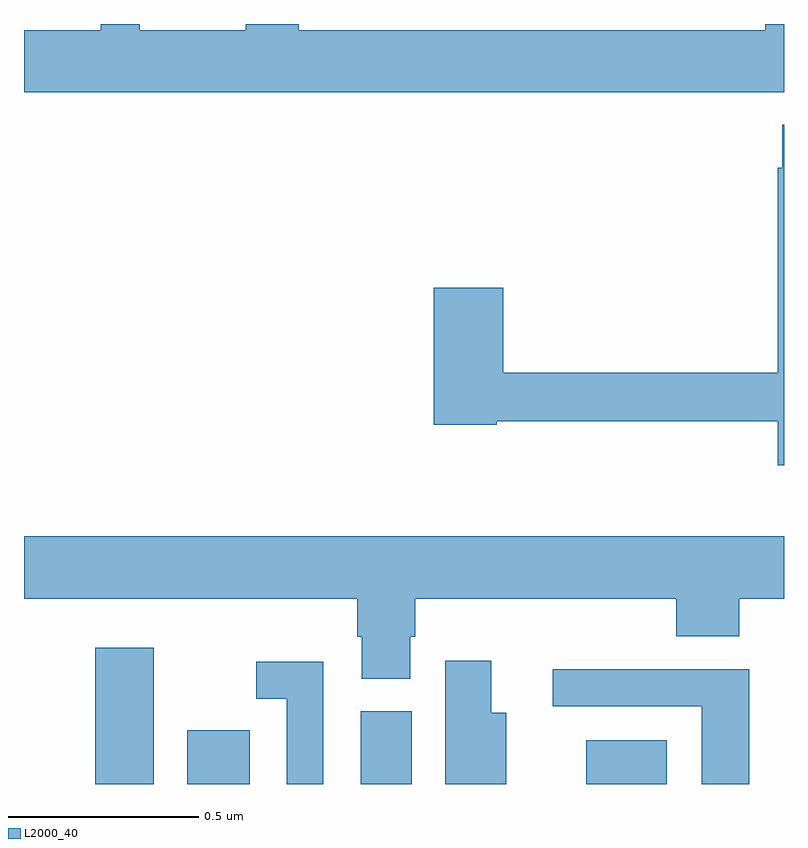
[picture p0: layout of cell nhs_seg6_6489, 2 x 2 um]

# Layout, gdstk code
import gdstk
lib = gdstk.Library(unit=1e-6, precision=1e-09)
def R(c, l, rs):  # rectangles x0, y0, x1, y1
    for r in rs: c.add(gdstk.rectangle(r[:2], r[2:], *l))
def P(c, l, *ps):  # polygons
    for p in ps: c.add(gdstk.Polygon(p, *l))
L2000_40 = (2000, 40)

nhs_seg6_6489 = lib.new_cell('nhs_seg6_6489')
R(nhs_seg6_6489, L2000_40, [(196.187,961.5,196.342,961.858), (196.43,961.5,196.594,961.642), (196.886,961.5,197.02,961.692), (197.48,961.5,197.692,961.615)])
P(nhs_seg6_6489, L2000_40, [(198,963.5),(197.951,963.5),(197.951,963.484),(196.723,963.484),(196.723,963.5),(196.583,963.5),(196.583,963.484),(196.304,963.484),(196.304,963.5),(196.202,963.5),(196.202,963.484),(196,963.484),(196,963.32),(198,963.32)],
  [(198,963.235),(197.996,963.235),(197.996,963.122),(197.984,963.122),(197.984,962.582),(197.261,962.582),(197.261,962.806),(197.078,962.806),(197.078,962.446),(197.244,962.446),(197.244,962.454),(197.984,962.454),(197.984,962.339),(198,962.339)],
  [(197.017,961.887),(197.03,961.887),(197.03,961.988),(197.717,961.988),(197.717,961.889),(197.882,961.889),(197.882,961.988),(198,961.988),(198,962.152),(196,962.152),(196,961.988),(196.877,961.988),(196.877,961.887),(196.889,961.887),(196.889,961.777),(197.017,961.777)],
  [(197.269,961.687),(197.23,961.687),(197.23,961.825),(197.108,961.825),(197.108,961.5),(197.269,961.5)],
  [(196.788,961.822),(196.611,961.822),(196.611,961.725),(196.692,961.725),(196.692,961.5),(196.788,961.5)],
  [(197.909,961.802),(197.391,961.802),(197.391,961.704),(197.783,961.704),(197.783,961.5),(197.909,961.5)])

lib.write_gds('nhs_seg6_6489.gds')
